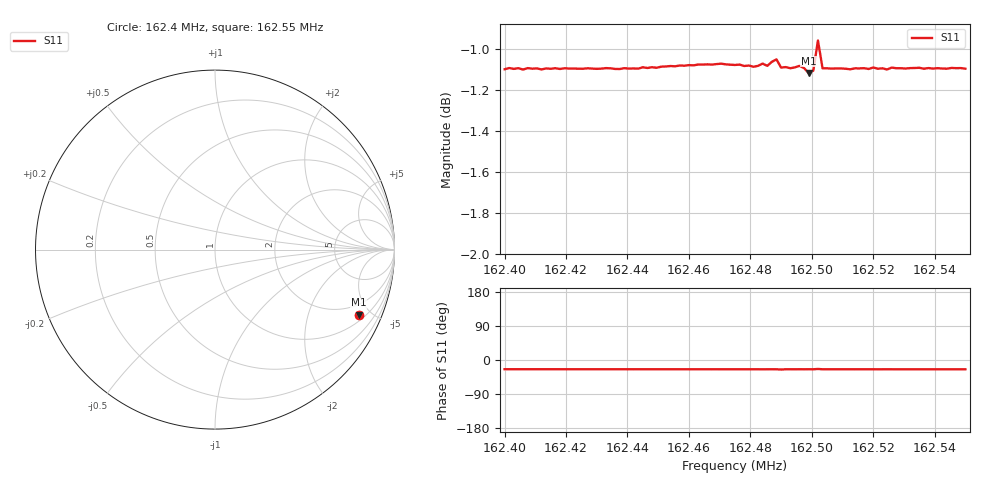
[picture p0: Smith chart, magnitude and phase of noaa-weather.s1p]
! Calibrated averaged scanner-service zoom
# Hz S RI R 50
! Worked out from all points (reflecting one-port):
!   101 points, 162.4 MHz to 162.55 MHz, reference 50 ohm
!   lowest |S11| = -1.1 dB at 162.499 MHz (marker M1), VSWR 15.55, Z = 66.3 - j212 ohm
!   phase of S11 starts at -24 deg and turns -0 deg over the sweep
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1.624e8  0.8027 -0.363
1.624015e8  0.8032 -0.3634
1.62406e8  0.8026 -0.363
1.624195e8  0.803 -0.3637
1.624375e8  0.8025 -0.3637
1.62457e8  0.8038 -0.3651
1.624705e8  0.8045 -0.3659
1.62475e8  0.804 -0.3654
1.624825e8  0.8035 -0.3654
1.62484e8  0.8037 -0.3677
1.624855e8  0.8035 -0.3654
1.62487e8  0.8054 -0.3659
1.624885e8  0.8061 -0.3673
1.6249e8  0.7984 -0.3743
1.624915e8  0.8029 -0.3651
1.624945e8  0.8027 -0.3653
1.62496e8  0.8038 -0.3647
1.624975e8  0.8024 -0.365
1.62499e8  0.8008 -0.3628
1.625005e8  0.8013 -0.3645
1.62502e8  0.82 -0.3593
1.625035e8  0.8024 -0.3649
1.625125e8  0.8018 -0.3649
1.6252e8  0.8026 -0.3655
1.625245e8  0.8017 -0.365
1.62526e8  0.8025 -0.3654
1.62532e8  0.8022 -0.3656
1.6255e8  0.8018 -0.3657
